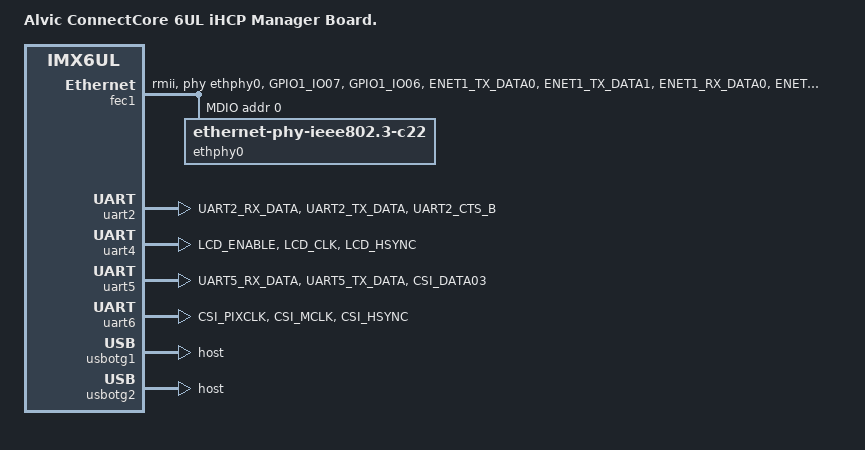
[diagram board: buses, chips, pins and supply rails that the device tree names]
/dts-v1/;
#include <dt-bindings/input/input.h>
#include <dt-bindings/interrupt-controller/irq.h>
/* i.MX6 UltraLite CPU */
#include "imx6ul.dtsi"
/* ConnectCore 6UL (common) */
#include "imx6ul-ccimx6ul.dtsi"

/ {
	// Add here your platform model.
	model = "Alvic ConnectCore 6UL iHCP Manager Board.";
	// Add here your compatible platform.
	compatible = "digi,ccimx6ulalviccl", "digi,ccimx6ul", "fsl,imx6ul";
	digi,machine,name = "ccimx6ulalviccl";
	
	bootcount {
		compatible = "u-boot,bootcount-rtc";
		rtc = <&mca_rtc>;
		offset = <0x00b0>;
	};	
};

&fec1 {
	pinctrl-names = "default";
	pinctrl-0 = <&pinctrl_enet1>, <&pinctrl_enet1_gpio>;
	phy-mode = "rmii";
	phy-handle = <&ethphy0>;
	phy-reset-gpios = <&gpio3 13 GPIO_ACTIVE_LOW>;
	phy-reset-duration = <26>;
	digi,phy-reset-in-suspend;
	status = "okay";

	mdio {
		#address-cells = <1>;
		#size-cells = <0>;

		ethphy0: ethernet-phy@0 {
			compatible = "ethernet-phy-ieee802.3-c22";
			clocks = <&clks IMX6UL_CLK_ENET_REF>;
			clock-names = "refclk";
			smsc,disable-energy-detect;
			reg = <0>;
		};
	};
};

&uart2 {
	pinctrl-names = "default";
	pinctrl-0 = <&pinctrl_uart2>;
	uart-has-rtscts;
	linux,rs485-enabled-at-boot-time;
//	rs485-rts-active-high;
	rs485-rts-active-low;
	rs485-rx-during-tx
	rs485-rts-delay = <0 0>;
	status = "okay";
};

&uart4 {
	pinctrl-names = "default";
	pinctrl-0 = <&pinctrl_uart4>;
	uart-has-rtscts;
	linux,rs485-enabled-at-boot-time;
//	rs485-rts-active-high;
	rs485-rts-delay = <0 0>;
	status = "okay";
};

&uart5 {
	pinctrl-names = "default";
	pinctrl-0 = <&pinctrl_uart5>;
	uart-has-rtscts;
	linux,rs485-enabled-at-boot-time;
//	rs485-rts-active-low;
	rs485-rts-delay = <0 0>;
	status = "okay";
};

&uart6 {
	pinctrl-names = "default";
	pinctrl-0 = <&pinctrl_uart6>;
	uart-has-rtscts;
	linux,rs485-enabled-at-boot-time;
//	rs485-rts-active-high;
	rs485-rts-delay = <0 0>;
	status = "okay";
};

&usbotg1 {
	dr_mode = "host";
	power-active-high;
	disable-over-current;
	status = "okay";
};

&usbotg2 {
	dr_mode = "host";
	power-active-high;
	disable-over-current;
	status = "okay";
};

&iomuxc {
	pinctrl-names = "default";
	pinctrl-0 = <&pinctrl_hog>;

	imx6ul-ccimx6ul {
		pinctrl_enet1: enet1grp {
			fsl,pins = <
				MX6UL_PAD_GPIO1_IO07__ENET1_MDC			0x1b0b0
				MX6UL_PAD_GPIO1_IO06__ENET1_MDIO		0x1b0b0
				MX6UL_PAD_ENET1_TX_DATA0__ENET1_TDATA00		0x1b0b0
				MX6UL_PAD_ENET1_TX_DATA1__ENET1_TDATA01		0x1b0b0
				MX6UL_PAD_ENET1_RX_DATA0__ENET1_RDATA00		0x1b0b0
				MX6UL_PAD_ENET1_RX_DATA1__ENET1_RDATA01		0x1b0b0
				MX6UL_PAD_ENET1_TX_EN__ENET1_TX_EN		0x1b0b0
				MX6UL_PAD_ENET1_TX_CLK__ENET1_REF_CLK1		0x40017051
				MX6UL_PAD_ENET1_RX_EN__ENET1_RX_EN		0x1b0b0
				MX6UL_PAD_ENET1_RX_ER__ENET1_RX_ER		0x1b0b0
			>;
		};
		pinctrl_enet1_gpio: enet1gpiogrp {
			fsl,pins = <
				MX6UL_PAD_GPIO1_IO04__GPIO1_IO04		0x1b0b0
			>;
		};

		pinctrl_uart2: uart2grp {
			fsl,pins = <
                	MX6UL_PAD_UART2_RX_DATA__UART2_DCE_RX        		0x1b0b1
                	MX6UL_PAD_UART2_TX_DATA__UART2_DCE_TX        		0x1b0b1
                	MX6UL_PAD_UART2_CTS_B__UART2_DCE_CTS        		0x1b0b1
			>;
		};

		pinctrl_uart4: uart4grp {
			fsl,pins = <
                	MX6UL_PAD_LCD_ENABLE__UART4_DCE_RX        		0x1b0b1
                	MX6UL_PAD_LCD_CLK__UART4_DCE_TX        			0x1b0b1
                	MX6UL_PAD_LCD_HSYNC__UART4_DCE_CTS        		0x1b0b1
			>;
		};

		pinctrl_uart5: uart5grp {
			fsl,pins = <
                	MX6UL_PAD_UART5_RX_DATA__UART5_DCE_RX        		0x1b0b1
                	MX6UL_PAD_UART5_TX_DATA__UART5_DCE_TX        		0x1b0b1
                	MX6UL_PAD_CSI_DATA03__UART5_DCE_CTS        		0x1b0b1
			>;
		};

		pinctrl_uart6: uart6grp {
			fsl,pins = <
                	MX6UL_PAD_CSI_PIXCLK__UART6_DCE_RX        		0x1b0b1
                	MX6UL_PAD_CSI_MCLK__UART6_DCE_TX        		0x1b0b1
                	MX6UL_PAD_CSI_HSYNC__UART6_DCE_CTS        		0x1b0b1
			>;
		};

		pinctrl_hog: hoggrp {
			fsl,pins = <
                		/* RTS_uart6
                		MX6UL_PAD_CSI_VSYNC__GPIO4_IO19        		0x1b0b0 */
                		/* RTS_uart5
                		MX6UL_PAD_CSI_DATA02__GPIO4_IO23        	0x1b0b0 */
                		/* RTS_uart4
                		MX6UL_PAD_LCD_VSYNC__GPIO3_IO03        		0x1b0b0 */
                		/* RTS_uart2
                		MX6UL_PAD_UART2_RTS_B__GPIO1_IO23      		0x1b0b0 */
				/* LED_EST_ROJ */
				MX6UL_PAD_GPIO1_IO00__GPIO1_IO00		0x1b0b0
				/* LED_EST_VER */
				MX6UL_PAD_GPIO1_IO01__GPIO1_IO01		0x1b0b0
				/* LED_EST_AZUL */
				MX6UL_PAD_GPIO1_IO05__GPIO1_IO05		0x1b0b0
				/* LED_TX */
				MX6UL_PAD_LCD_RESET__GPIO3_IO04			0x1b0b0
				/* LED_RX */
				MX6UL_PAD_LCD_DATA09__GPIO3_IO14		0x1b0b0
				/* RS232/RS485 */
				MX6UL_PAD_CSI_DATA00__GPIO4_IO21        	0x10b0
			>;
		};

	};
};
